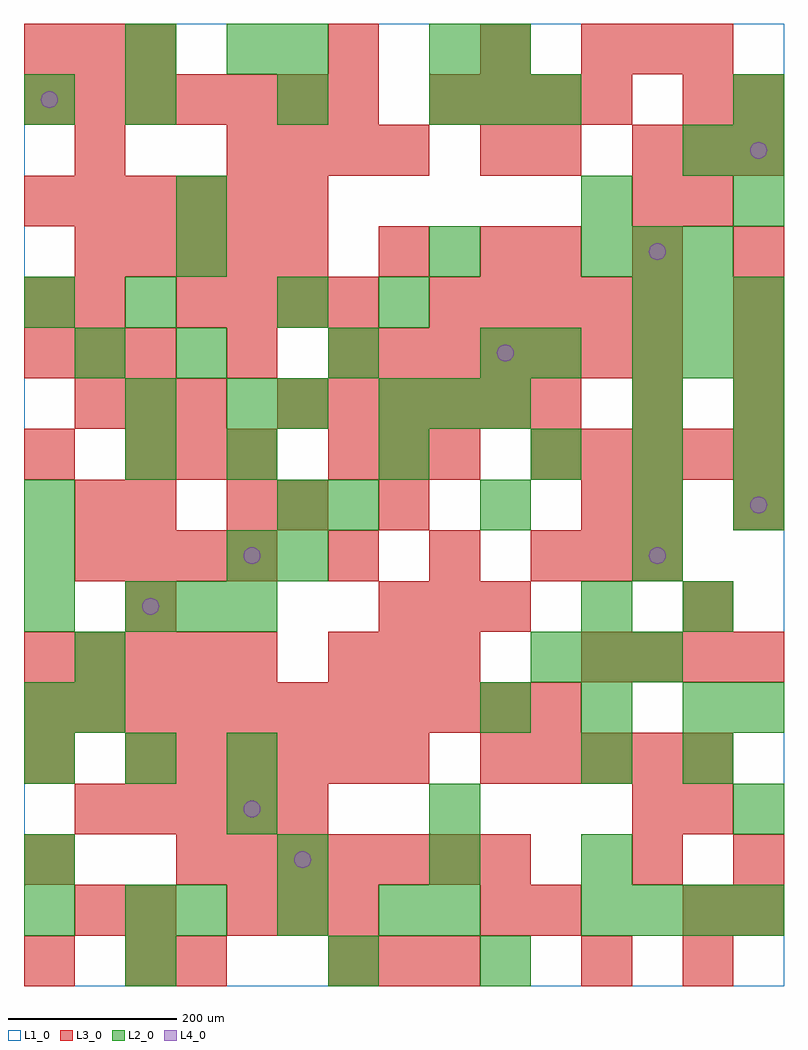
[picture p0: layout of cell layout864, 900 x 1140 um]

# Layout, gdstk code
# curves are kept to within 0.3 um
import gdstk
lib = gdstk.Library(unit=1e-6, precision=1e-09)
def R(c, l, rs):  # rectangles x0, y0, x1, y1
    for r in rs: c.add(gdstk.rectangle(r[:2], r[2:], *l))
def A(c, l, x, y, w, h, nx, ny, dx, dy):  # array of equal rectangles
    R(c, l, [(x+i*dx, y+j*dy, x+i*dx+w, y+j*dy+h) for i in range(nx) for j in range(ny)])
def P(c, l, *ps):  # polygons
    for p in ps: c.add(gdstk.Polygon(p, *l))
L1_0 = (1, 0)
L2_0 = (2, 0)
L3_0 = (3, 0)
L4_0 = (4, 0)

layout864 = lib.new_cell('layout864')
R(layout864, L1_0, [(0,0,900,1140)])
A(layout864, L2_0, 180, 60, 60, 60, 3, 1, 120, 0)
A(layout864, L2_0, 660, 60, 60, 60, 4, 1, 60, 0)
A(layout864, L2_0, 300, 120, 60, 60, 3, 1, 180, 0)
A(layout864, L2_0, 0, 240, 60, 60, 3, 1, 120, 0)
A(layout864, L2_0, 540, 300, 60, 60, 3, 1, 120, 0)
A(layout864, L2_0, 600, 360, 60, 60, 3, 1, 60, 0)
A(layout864, L2_0, 0, 420, 60, 60, 1, 3, 0, 60)
A(layout864, L2_0, 120, 420, 60, 60, 3, 1, 60, 0)
A(layout864, L2_0, 300, 540, 60, 60, 1, 3, 0, 120)
A(layout864, L2_0, 360, 540, 60, 60, 3, 1, 180, 0)
A(layout864, L2_0, 840, 540, 60, 60, 1, 3, 0, 60)
A(layout864, L2_0, 240, 600, 60, 60, 3, 1, 180, 0)
A(layout864, L2_0, 420, 660, 60, 60, 3, 1, 60, 0)
A(layout864, L2_0, 180, 720, 60, 60, 3, 1, 180, 0)
A(layout864, L2_0, 720, 720, 60, 60, 3, 2, 60, 60)
A(layout864, L2_0, 660, 840, 60, 60, 3, 1, 60, 0)
A(layout864, L2_0, 840, 900, 60, 60, 1, 3, 0, 60)
A(layout864, L2_0, 120, 1020, 60, 60, 3, 1, 180, 0)
R(layout864, L2_0, [(120,0,180,60), (360,0,420,60), (540,0,600,60), (0,60,60,120), (120,60,180,120), (480,60,540,120), (0,120,60,180), (240,180,300,240), (480,180,540,240), (840,180,900,240), (660,240,720,300), (780,240,840,300), (0,300,60,360), (60,300,120,360), (840,300,900,360), (60,360,120,420), (660,420,720,480), (780,420,840,480), (240,480,300,540), (300,480,360,540), (720,480,780,540), (120,600,180,660), (720,600,780,660), (120,660,180,720), (240,660,300,720), (720,660,780,720), (60,720,120,780), (600,720,660,780), (0,780,60,840), (120,780,180,840), (420,780,480,840), (180,840,240,900), (480,840,540,900), (180,900,240,960), (660,900,720,960), (780,960,840,1020), (0,1020,60,1080), (540,1020,600,1080), (600,1020,660,1080), (120,1080,180,1140), (240,1080,300,1140), (300,1080,360,1140), (480,1080,540,1140), (540,1080,600,1140)])
A(layout864, L3_0, 0, 0, 60, 60, 1, 3, 0, 120)
A(layout864, L3_0, 360, 0, 60, 60, 3, 2, 60, 360)
A(layout864, L3_0, 240, 60, 60, 60, 3, 1, 60, 0)
A(layout864, L3_0, 180, 120, 60, 60, 7, 1, 60, 0)
A(layout864, L3_0, 60, 180, 60, 60, 5, 2, 60, 660)
A(layout864, L3_0, 120, 240, 60, 60, 6, 1, 60, 0)
A(layout864, L3_0, 540, 240, 60, 60, 5, 1, 60, 0)
A(layout864, L3_0, 0, 300, 60, 60, 11, 1, 60, 0)
A(layout864, L3_0, 0, 360, 60, 60, 5, 1, 60, 0)
A(layout864, L3_0, 660, 360, 60, 60, 4, 1, 60, 0)
A(layout864, L3_0, 420, 420, 60, 60, 3, 1, 60, 0)
A(layout864, L3_0, 60, 480, 60, 60, 4, 1, 60, 0)
A(layout864, L3_0, 360, 480, 60, 60, 3, 1, 120, 0)
A(layout864, L3_0, 120, 600, 60, 60, 3, 1, 60, 0)
A(layout864, L3_0, 360, 600, 60, 60, 3, 1, 60, 0)
A(layout864, L3_0, 600, 600, 60, 60, 5, 1, 60, 0)
A(layout864, L3_0, 60, 660, 60, 60, 3, 1, 60, 0)
A(layout864, L3_0, 300, 660, 60, 60, 6, 1, 60, 0)
A(layout864, L3_0, 840, 660, 60, 60, 1, 3, 0, 60)
A(layout864, L3_0, 0, 720, 60, 60, 3, 2, 60, 360)
A(layout864, L3_0, 360, 720, 60, 60, 7, 1, 60, 0)
A(layout864, L3_0, 180, 780, 60, 60, 4, 1, 60, 0)
A(layout864, L3_0, 480, 780, 60, 60, 5, 1, 60, 0)
A(layout864, L3_0, 540, 840, 60, 60, 1, 3, 0, 120)
A(layout864, L3_0, 600, 840, 60, 60, 3, 1, 120, 0)
A(layout864, L3_0, 0, 900, 60, 60, 6, 1, 60, 0)
A(layout864, L3_0, 240, 960, 60, 60, 4, 1, 60, 0)
A(layout864, L3_0, 720, 960, 60, 60, 3, 1, 60, 0)
A(layout864, L3_0, 0, 1020, 60, 60, 7, 1, 60, 0)
A(layout864, L3_0, 480, 1020, 60, 60, 4, 1, 60, 0)
A(layout864, L3_0, 660, 1080, 60, 60, 3, 1, 60, 0)
R(layout864, L3_0, [(120,0,180,60), (180,0,240,60), (660,0,720,60), (780,0,840,60), (60,60,120,120), (120,60,180,120), (540,60,600,120), (600,60,660,120), (780,60,840,120), (840,60,900,120), (720,120,780,180), (840,120,900,180), (720,180,780,240), (780,180,840,240), (120,420,180,480), (780,420,840,480), (660,480,720,540), (720,480,780,540), (60,540,120,600), (120,540,180,600), (240,540,300,600), (300,540,360,600), (420,540,480,600), (660,540,720,600), (720,540,780,600), (840,540,900,600), (0,600,60,660), (720,660,780,720), (240,720,300,780), (0,780,60,840), (60,780,120,840), (420,840,480,900), (720,900,780,960), (780,900,840,960), (60,960,120,1020), (600,960,660,1020), (780,1020,840,1080), (840,1020,900,1080), (360,1080,420,1140)])
P(layout864, L4_0, [(40,1050),(39.239,1053.827),(37.071,1057.071),(33.827,1059.239),(30,1060),(26.173,1059.239),(22.929,1057.071),(20.761,1053.827),(20,1050),(20.761,1046.173),(22.929,1042.929),(26.173,1040.761),(30,1040),(33.827,1040.761),(37.071,1042.929),(39.239,1046.173)],
  [(160,450),(159.239,453.827),(157.071,457.071),(153.827,459.239),(150,460),(146.173,459.239),(142.929,457.071),(140.761,453.827),(140,450),(140.761,446.173),(142.929,442.929),(146.173,440.761),(150,440),(153.827,440.761),(157.071,442.929),(159.239,446.173)],
  [(280,210),(279.239,213.827),(277.071,217.071),(273.827,219.239),(270,220),(266.173,219.239),(262.929,217.071),(260.761,213.827),(260,210),(260.761,206.173),(262.929,202.929),(266.173,200.761),(270,200),(273.827,200.761),(277.071,202.929),(279.239,206.173)],
  [(280,510),(279.239,513.827),(277.071,517.071),(273.827,519.239),(270,520),(266.173,519.239),(262.929,517.071),(260.761,513.827),(260,510),(260.761,506.173),(262.929,502.929),(266.173,500.761),(270,500),(273.827,500.761),(277.071,502.929),(279.239,506.173)],
  [(340,150),(339.239,153.827),(337.071,157.071),(333.827,159.239),(330,160),(326.173,159.239),(322.929,157.071),(320.761,153.827),(320,150),(320.761,146.173),(322.929,142.929),(326.173,140.761),(330,140),(333.827,140.761),(337.071,142.929),(339.239,146.173)],
  [(580,750),(579.239,753.827),(577.071,757.071),(573.827,759.239),(570,760),(566.173,759.239),(562.929,757.071),(560.761,753.827),(560,750),(560.761,746.173),(562.929,742.929),(566.173,740.761),(570,740),(573.827,740.761),(577.071,742.929),(579.239,746.173)],
  [(760,510),(759.239,513.827),(757.071,517.071),(753.827,519.239),(750,520),(746.173,519.239),(742.929,517.071),(740.761,513.827),(740,510),(740.761,506.173),(742.929,502.929),(746.173,500.761),(750,500),(753.827,500.761),(757.071,502.929),(759.239,506.173)],
  [(760,870),(759.239,873.827),(757.071,877.071),(753.827,879.239),(750,880),(746.173,879.239),(742.929,877.071),(740.761,873.827),(740,870),(740.761,866.173),(742.929,862.929),(746.173,860.761),(750,860),(753.827,860.761),(757.071,862.929),(759.239,866.173)],
  [(880,570),(879.239,573.827),(877.071,577.071),(873.827,579.239),(870,580),(866.173,579.239),(862.929,577.071),(860.761,573.827),(860,570),(860.761,566.173),(862.929,562.929),(866.173,560.761),(870,560),(873.827,560.761),(877.071,562.929),(879.239,566.173)],
  [(880,990),(879.239,993.827),(877.071,997.071),(873.827,999.239),(870,1000),(866.173,999.239),(862.929,997.071),(860.761,993.827),(860,990),(860.761,986.173),(862.929,982.929),(866.173,980.761),(870,980),(873.827,980.761),(877.071,982.929),(879.239,986.173)])

lib.write_gds('layout864.gds')
